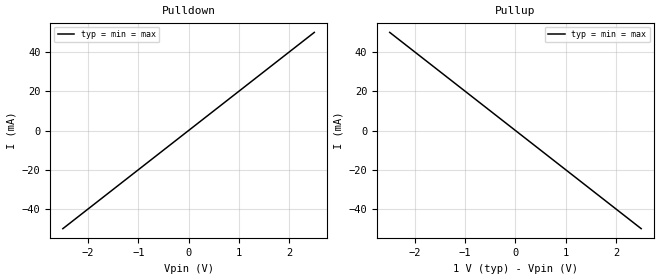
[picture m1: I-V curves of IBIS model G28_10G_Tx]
[IBIS Ver]   5.0
[Disclaimer] THESE IBIS MODELS ARE PROVIDED "AS IS" WITH NO
             WARRANTY WHATSOEVER AND LSI CORPORATION
             SPECIFICALLY DISCLAIMS ANY IMPLIED WARRANTIES OF
             MERCHANTABILITY, FITNESS FOR A PARTICULAR PURPOSE,
             OR AGAINST INFRINGEMENT.
[File Name]  cw108052_28nm_10g_tx.ibs
[File Rev]   1.4
[Date]   11/12/2012
[Source]   Developed by: LSI Corp.
[Notes]   Revision History
Rev 0.1 - 04/11/2012 Interim Model Release
Rev 1.0 - 06/13/2012 Updated with post-layout circuit simulations
Rev 1.1 - 08/20/2012 Added 64-bit DLL
Rev 1.2 - 09/11/2012 Deleted invalid LUT pointer
   Added 32-bit Linux model
Rev 1.3 - 11/01/2012 Updated c_comp and ramp values
Rev 1.4 - 11/12/2012 Updated voltage and ramp for Agilent ADS
[Copyright]  Copyright 2012, LSI Corp, All Rights Reserved
[Component] CW108052_TX
[Manufacturer] LSI
[Package]
R_pkg 0.00001m   NA   NA
L_pkg 0.00001nH  NA   NA
C_pkg 0.00001pF  NA   NA
[Pin] signal_name   model_name   R_pin  L_pin  C_pin
1p   G28_10G_Tx   G28_10G_Tx
1n   G28_10G_Tx_L   G28_10G_Tx
[Diff_Pin] inv_pin vdiff tdelay_typ tdelay_min tdelay_max
1p   1n   0.1V  NA   NA   NA
| Models and submodels in the file (1): G28_10G_Tx (Output)
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[Model] G28_10G_Tx
Model_type Output
C_comp 454f 441f 466f
Cref = 0
Vref = 0.5
Rref = 50
Vmeas = 0.5
[Algorithmic Model]
Executable Windows_VisualStudio_32 G28_10G_Tx.dll g28_10g_tx.ami
Executable Windows_VisualStudio_64 G28_10G_Tx_64.dll g28_10g_tx.ami
Executable Linux_gcc4.1.2_32 G28_10G_Tx.linux.so g28_10g_tx.ami
[End Algorithmic Model]
[Temperature Range] 60 -40 125
| SiSoft QCD
[Voltage Range] 1.0 0.85 1.1
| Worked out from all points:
|   slope of the pulldown table from 0 to 0.15 V, typ, clamps not added: 50 ohm
|   slope of the pullup table from 0 to 0.15 V, typ, clamps not added: 50 ohm
| Agilent ADS
|[Voltage Range] 1.05 0.85 1.1
[Pulldown]
|Voltage  I(typ)   I(min)   I(max)
-2.5V     -50mA      -50mA      -50mA
0V        0A         0A         0A
2.5V      50mA       50mA       50mA
[Pullup]
-2.5V     50mA       50mA       50mA
0V        0A         0A         0A
2.5V      -50mA      -50mA      -50mA
[Ramp]
| SiSoft QCD
dV/dt_r 0.3/1p 0.3/1p 0.3/1p
dV/dt_f 0.3/1p 0.3/1p 0.3/1p
